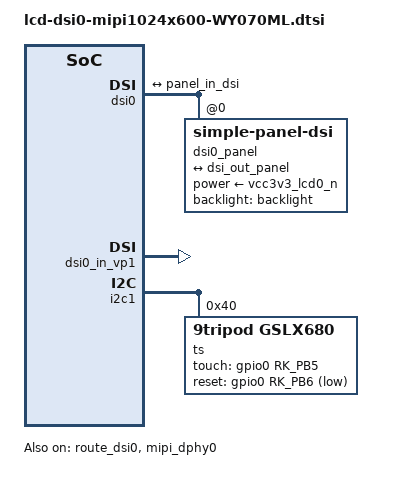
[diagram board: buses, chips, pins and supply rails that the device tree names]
/*
 * Copyright (C) 2021 9tripod, Inc.
 * arch/arm64/boot/dts/lcd-dsi0-mipi1024x600-WY070ML.dtsi
 * lcd model: wy070ml
 * resolution: 1024x600
 * mipi channel: dsi0
 */

/*
 * mipi_dphy0 needs to be enabled
 * when dsi0 is enabled
 */
&dsi0 {
	status = "okay";
	//rockchip,lane-rate = <1000>;
	dsi0_panel: panel@0 {
		status = "okay";
		compatible = "simple-panel-dsi";
		reg = <0>;
		power-supply = <&vcc3v3_lcd0_n>;
		//reset-gpios = <&gpio0 RK_PA6 GPIO_ACTIVE_LOW>;
		backlight = <&backlight>;
		reset-delay-ms = <60>;
		enable-delay-ms = <60>;
		prepare-delay-ms = <60>;
		unprepare-delay-ms = <60>;
		disable-delay-ms = <60>;
		dsi,flags = <(MIPI_DSI_MODE_VIDEO | MIPI_DSI_MODE_VIDEO_BURST |
			MIPI_DSI_MODE_LPM | MIPI_DSI_MODE_EOT_PACKET)>;
		dsi,format = <MIPI_DSI_FMT_RGB888>;
		dsi,lanes  = <4>;

		disp_timings0: display-timings {
			native-mode = <&dsi0_timing0>;
			dsi0_timing0: timing0 {
				clock-frequency = <60000000>;
				hactive = <1024>;
				vactive = <600>;
				hfront-porch = <150>;
				hsync-len = <20>;
				hback-porch = <150>;
				vfront-porch = <8>;
				vsync-len = <3>;
				vback-porch = <24>;
				hsync-active = <1>;
				vsync-active = <1>;
				de-active = <0>;
				pixelclk-active = <1>;
			};
		};

		ports {
			#address-cells = <1>;
			#size-cells = <0>;

			port@0 {
				reg = <0>;
				panel_in_dsi: endpoint {
					remote-endpoint = <&dsi_out_panel>;
				};
			};
		};
	};

	ports {
		#address-cells = <1>;
		#size-cells = <0>;

		port@1 {
			reg = <1>;
			dsi_out_panel: endpoint {
				remote-endpoint = <&panel_in_dsi>;
			};
		};
	};

};


&route_dsi0 {
	status = "okay";
	connect = <&vp1_out_dsi0>;
};

&dsi0_in_vp0 {
	status = "disabled";
};

&dsi0_in_vp1 {
	status = "okay";
};

&mipi_dphy0 {
	status = "okay";
};

&i2c1 {
	status = "okay";

	ts@40 {
		compatible = "9tripod,gslx680";
		reg = <0x40>;
		touch-gpio = <&gpio0 RK_PB5 IRQ_TYPE_EDGE_RISING>;
		reset-gpio = <&gpio0 RK_PB6 GPIO_ACTIVE_LOW>;
		max-x = <1024>;
		max-y = <600>;
	};
};

